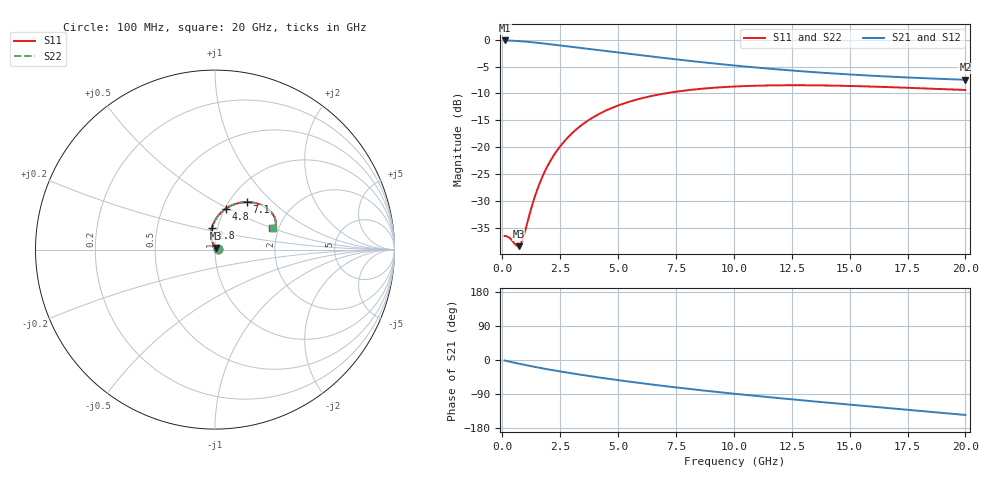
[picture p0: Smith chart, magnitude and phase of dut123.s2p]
! Touchstone file exported from HFSS 2024.1.0
!  File:  C:/UserFiles/LocalFiles/RDL_TSV_Batchsim/temp_RDL_TSV_123_1779425396.aedt
!  Generated:  01:02:51 PM May 22, 2026
!  Design:  RDL_TSV
!  Project:  temp_RDL_TSV_123_1779425396
!  Setup:  Setup1
!  Solution:  Sweep
! Variables:
!  dtsv = 10.23um
!  hbump = 3um
!  htsv = 65.09um
!  ldown = 450.98um
!  lrdl = 143.12um
!  p = 40
!  p1 = 56.04um
!  rhole = 10um
!  subl = 1925.42um
!  t = 450um
!  tdown = 3.79um
!  trdl = 2.05um
!  viad = 10um
!  wdown = 21.9um
!  wrdl = 11.34um
!  xbump = 18um
# GHz S MA R 50.000000
! Terminal data exported
! Port[1] = TM1_1_T1
! Port[2] = TM1_4_T1
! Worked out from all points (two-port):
!   200 points, 100 MHz to 20 GHz, reference 50 ohm
!   highest |S21| = -0.13 dB at 100 MHz (marker M1); lowest = -7.4 dB at 20 GHz (marker M2)
!   |S21| within 3 dB of the highest: start of sweep to 6.465 GHz
!   lowest |S11| = -38.4 dB at 700 MHz (marker M3), VSWR 1.02, Z = 50.8 + j0.939 ohm
!   |S11| at or under -10 dB: start of sweep to 7.02 GHz
!   |S22| runs from -38.4 to -8.5 dB; largest |S21 - S12| = 2.3e-14
!   S11 on the Smith chart (normalised r, x): 100 MHz: 1.03, +0.00; 2.8 GHz: 0.94, +0.23; 4.8 GHz: 1.01, +0.49; 7.1 GHz: 1.20, +0.71; 20 GHz: 1.86, +0.49
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0.1  0.01494 4.8  0.9846 -1.4  0.9846 -1.4  0.01494 4.8
! Gamma 0 0 0 0
! Port Impedance 50 0 50 0
0.3  0.01441 13.9  0.982 -4.1  0.982 -4.1  0.0144 13.9
0.6  0.01222 37.3  0.9748 -8.1  0.9748 -8.1  0.01221 37.3
0.7  0.01199 50.5  0.9717 -9.4  0.9717 -9.4  0.01199 50.5
0.8  0.01263 65.1  0.9682 -10.7  0.9682 -10.7  0.01263 65.1
0.9  0.01432 78.5  0.9645 -12.0  0.9645 -12.0  0.01433 78.6
1.4  0.03439 106.9  0.9422 -18.1  0.9422 -18.1  0.03442 106.9
1.6  0.04537 108.4  0.9322 -20.5  0.9322 -20.5  0.04541 108.5
1.8  0.05722 108.2  0.9218 -22.7  0.9218 -22.7  0.05727 108.2
2.3  0.08887 104.0  0.8952 -28.1  0.8952 -28.1  0.08895 104.0
2.8  0.1213 98.1  0.8687 -33.2  0.8687 -33.2  0.1214 98.1
3.5  0.165 89.6  0.8326 -40.0  0.8326 -40.0  0.1652 89.6
4.1  0.1994 82.7  0.8029 -45.4  0.8029 -45.4  0.1996 82.7
4.8  0.235 75.4  0.7697 -51.5  0.7697 -51.5  0.2352 75.4
5.7  0.2735 67.1  0.7293 -58.8  0.7293 -58.8  0.2738 67.1
6.8  0.3102 58.3  0.6836 -67.3  0.6836 -67.3  0.3105 58.3
7.1  0.3184 56.2  0.672 -69.5  0.672 -69.5  0.3187 56.2
8.6  0.3496 46.9  0.6186 -79.9  0.6186 -79.9  0.3501 46.9
10.1  0.3676 39.4  0.5736 -89.5  0.5736 -89.5  0.3682 39.4
13.4  0.3767 27.9  0.5004 -108.9  0.5004 -108.9  0.3773 27.9
16.7  0.3623 21.7  0.4538 -127.1  0.4538 -127.1  0.363 21.7
20  0.341 20.2  0.4242 -145.0  0.4242 -145.0  0.3418 20.1
